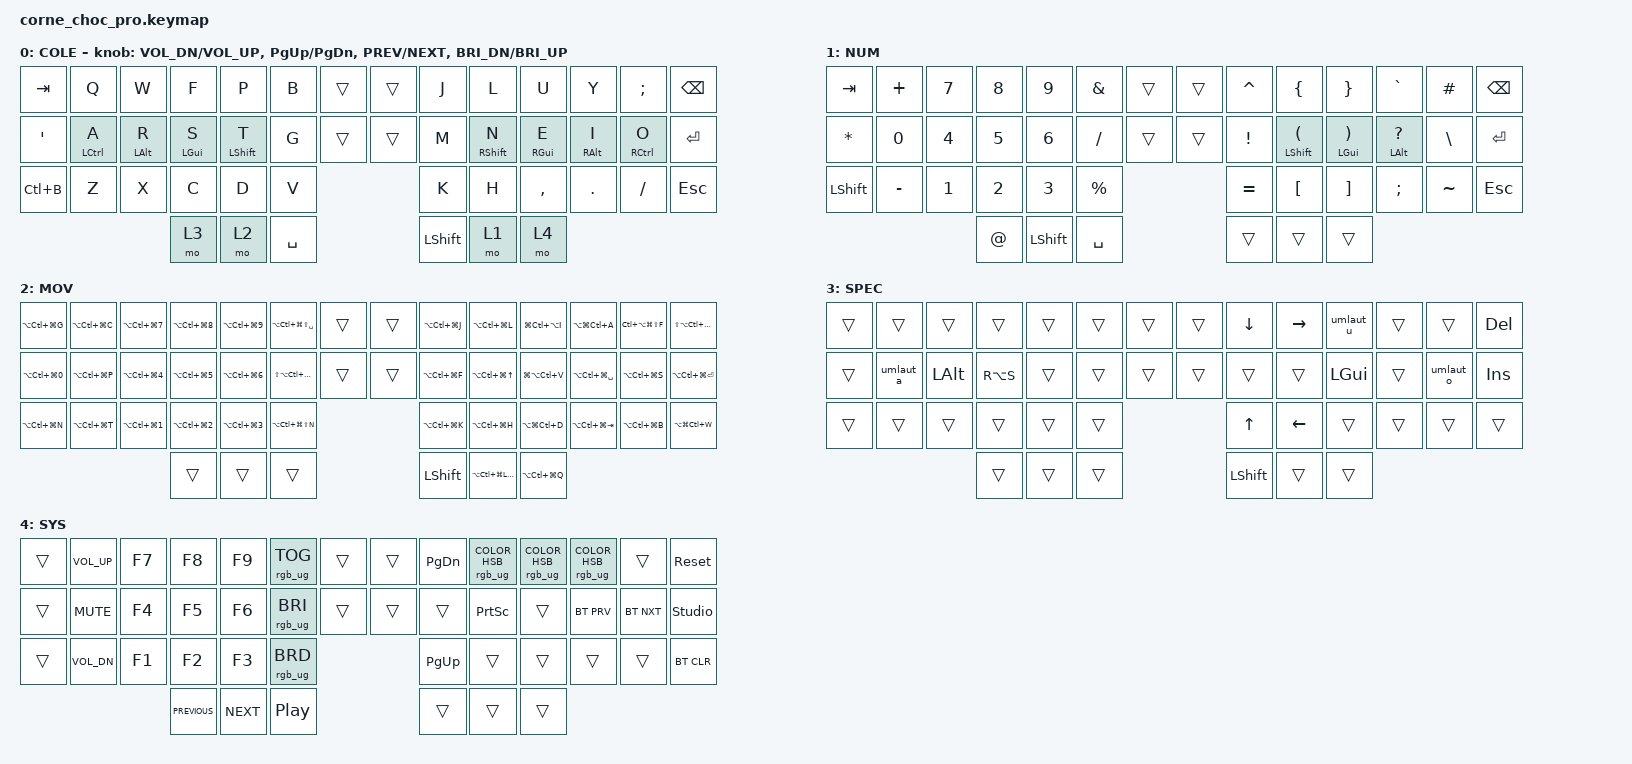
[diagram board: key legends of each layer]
/*
 * Copyright (c) 2020 The ZMK Contributors
 *
 * SPDX-License-Identifier: MIT
 */

#include <behaviors.dtsi>
#include <dt-bindings/zmk/bt.h>
#include <dt-bindings/zmk/keys.h>
#include <dt-bindings/zmk/rgb.h>

/ {
    chosen { zmk,physical-layout = &default_layout; };
};

/ {
    combos {
        compatible = "zmk,combos";

        esc {
            bindings = <&kp ESCAPE>;
            key-positions = <23 24>;
            layers = <0>;
        };

        tab {
            bindings = <&kp TAB>;
            key-positions = <18 17>;
        };
    };

    macros {
        umlaut_a: umlaut_a {
            compatible = "zmk,behavior-macro";
            #binding-cells = <0>;
            bindings = <&kp DOUBLE_QUOTES &kp A>;
            label = "UMLAUT_A";
        };

        umlaut_o: umlaut_o {
            compatible = "zmk,behavior-macro";
            #binding-cells = <0>;
            bindings = <&kp DOUBLE_QUOTES &kp O>;
            label = "UMLAUT_O";
        };

        umlaut_u: umlaut_u {
            compatible = "zmk,behavior-macro";
            #binding-cells = <0>;
            bindings = <&kp DOUBLE_QUOTES &kp U>;
            label = "UMLAUT_U";
        };
    };

    behaviors {
        HRM2: HRM2 {
            compatible = "zmk,behavior-hold-tap";
            label = "HRM2";
            bindings = <&kp>, <&kp>;

            #binding-cells = <2>;
            tapping-term-ms = <280>;
            quick-tap-ms = <200>;
            require-prior-idle-ms = <150>;
            flavor = "balanced";
        };

        HRM2_L: HRM2_L {
            compatible = "zmk,behavior-hold-tap";
            label = "HRM2_L";
            bindings = <&kp>, <&kp>;

            #binding-cells = <2>;
            tapping-term-ms = <280>;
            quick-tap-ms = <170>;
            require-prior-idle-ms = <165>;
            flavor = "balanced";
            hold-trigger-key-positions = <7 8 9 10 11 12 13 21 22 23 24 25 26 27 34 35 36 37 38 39 43 44 45 42 41 40>;
        };

        HRM2_R: HRM2_R {
            compatible = "zmk,behavior-hold-tap";
            label = "HRM2_R";
            bindings = <&kp>, <&kp>;

            #binding-cells = <2>;
            tapping-term-ms = <280>;
            quick-tap-ms = <170>;
            require-prior-idle-ms = <165>;
            flavor = "balanced";
            hold-trigger-key-positions = <16 0 1 2 3 4 5 6 14 15 16 17 18 19 20 28 29 30 31 32 33 40 41 42 43>;
        };
    };

    keymap {
        compatible = "zmk,keymap";

        default_layer {
            display-name = "COLE";

            // --------------------------------------------------------------------------------
            // |  TAB |  Q  |  W  |  E  |  R  |  T  |  MUTE |  PP   |  Y  |  U   |  I  |  O  |  P  | BSPC |
            // | CTRL |  A  |  S  |  D  |  F  |  G  |  LALT |  RALT |  H  |  J   |  K  |  L  |  ;  |  '   |
            // | SHFT |  Z  |  X  |  C  |  V  |  B  |               |  N  |  M   |  ,  |  .  |  /  | ESC  |
            //                    | GUI | LWR | SPC |               | ENT | RSE  | ALT |

            bindings = <
&kp TAB    &kp Q                   &kp W               &kp F               &kp P                 &kp B      &trans  &trans  &kp J           &kp L                  &kp U                &kp Y                &kp SEMI                 &kp BSPC
&kp APOS   &HRM2_L LEFT_CONTROL A  &HRM2_L LEFT_ALT R  &HRM2_L LEFT_GUI S  &HRM2_L LEFT_SHIFT T  &kp G      &trans  &trans  &kp M           &HRM2_R RIGHT_SHIFT N  &HRM2_R RIGHT_GUI E  &HRM2_R RIGHT_ALT I  &HRM2_R RIGHT_CONTROL O  &kp ENTER
&kp LC(B)  &kp Z                   &kp X               &kp C               &kp D                 &kp V                      &kp K           &kp H                  &kp COMMA            &kp DOT              &kp FSLH                 &kp ESC
                                                       &mo 3               &mo 2                 &kp SPACE                  &kp LEFT_SHIFT  &mo 1                  &mo 4
            >;

            sensor-bindings = <&inc_dec_kp C_VOL_DN C_VOL_UP &inc_dec_kp PG_UP PG_DN &inc_dec_kp C_PREV C_NEXT &inc_dec_kp C_BRI_DN C_BRI_UP>;
        };

        layer_1 {
            display-name = "NUM";

            // -----------------------------------------------------------------------------------------
            // |  TAB |  1  |  2  |  3  |  4  |  5    |  LCTRL | RCTRL |  6  |  7  |  8  |  9  |  0  | BSPC |
            // | CTRL | BT1 | BT2 | BT3 | BT4 | BT5   |  LALT  | RALT  | LFT | DWN |  UP | RGT |     |      |
            // | SHFT | BTCR| RGB | RST | BOOT| Unlock|        |       |     |     |     |     |     |      |
            //                    | GUI |     | SPC   |        | ENT   |     | ALT |

            bindings = <
&kp TAB       &kp PLUS   &kp N7        &kp N8        &kp N9          &kp AMPERSAND  &trans  &trans  &kp CARET        &kp LEFT_BRACE                       &kp RIGHT_BRACE                     &kp GRAVE                  &kp HASH       &kp BSPC
&kp ASTERISK  &kp N0     &kp NUMBER_4  &kp N5        &kp NUMBER_6    &kp SLASH      &trans  &trans  &kp EXCLAMATION  &HRM2_R LEFT_SHIFT LEFT_PARENTHESIS  &HRM2_R LEFT_GUI RIGHT_PARENTHESIS  &HRM2_R LEFT_ALT QUESTION  &kp BACKSLASH  &kp ENTER
&kp LSHFT     &kp MINUS  &kp NUMBER_1  &kp NUMBER_2  &kp NUMBER_3    &kp PERCENT                    &kp EQUAL        &kp LEFT_BRACKET                     &kp RIGHT_BRACKET                   &kp SEMICOLON              &kp TILDE      &kp ESCAPE
                                       &kp AT        &kp LEFT_SHIFT  &kp SPACE                      &trans           &trans                               &trans
            >;
        };

        layer_2 {
            display-name = "MOV";
            bindings = <
&kp LA(LC(LG(G)))         &kp LA(LC(LG(C)))  &kp LA(LC(LG(N7)))        &kp LA(LC(LG(N8)))        &kp LA(LC(LG(N9)))        &kp LA(LC(LG(LS(SPACE))))  &trans  &trans  &kp LA(LC(LG(J)))  &kp LA(LC(LG(L)))           &kp LG(LC(LA(I)))  &kp LA(LG(LC(A)))      &kp LC(LA(LG(LS(F))))  &kp LS(LA(LC(LG(ENTER))))
&kp LA(LC(LG(NUMBER_0)))  &kp LA(LC(LG(P)))  &kp LA(LC(LG(NUMBER_4)))  &kp LA(LC(LG(N5)))        &kp LA(LC(LG(NUMBER_6)))  &kp LS(LA(LC(LG(TAB))))    &trans  &trans  &kp LA(LC(LG(F)))  &kp LA(LC(LG(UP_ARROW)))    &kp LG(LA(LC(V)))  &kp LA(LC(LG(SPACE)))  &kp LA(LC(LG(S)))      &kp LA(LC(LG(ENTER)))
&kp LA(LC(LG(N)))         &kp LA(LC(LG(T)))  &kp LA(LC(LG(NUMBER_1)))  &kp LA(LC(LG(NUMBER_2)))  &kp LA(LC(LG(NUMBER_3)))  &kp LA(LC(LG(LS(N))))                      &kp LA(LC(LG(K)))  &kp LA(LC(LG(H)))           &kp LA(LG(LC(D)))  &kp LA(LC(LG(TAB)))    &kp LA(LC(LG(B)))      &kp LA(LG(LC(W)))
                                                                       &trans                    &trans                    &trans                                     &kp LEFT_SHIFT     &kp LA(LC(LG(LEFT_SHIFT)))  &kp LA(LC(LG(Q)))
            >;
        };

        layer_3 {
            display-name = "SPEC";
            bindings = <
&trans  &trans     &trans        &trans     &trans  &trans  &trans  &trans  &kp DOWN_ARROW  &kp RIGHT       &umlaut_u     &trans  &trans     &kp DELETE
&trans  &umlaut_a  &kp LEFT_ALT  &kp RA(S)  &trans  &trans  &trans  &trans  &trans          &trans          &kp LEFT_GUI  &trans  &umlaut_o  &kp INS
&trans  &trans     &trans        &trans     &trans  &trans                  &kp UP_ARROW    &kp LEFT_ARROW  &trans        &trans  &trans     &trans
                                 &trans     &trans  &trans                  &kp LEFT_SHIFT  &trans          &trans
            >;
        };

        layer_4 {
            display-name = "SYS";
            bindings = <
&trans  &kp C_VOL_UP  &kp F7  &kp F8          &kp F9      &rgb_ug RGB_TOG   &trans  &trans  &kp PAGE_DOWN  &rgb_ug RGB_COLOR_HSB(30,100,50)  &rgb_ug RGB_COLOR_HSB(0,0,100)  &rgb_ug RGB_COLOR_HSB(183,82,43)  &trans      &sys_reset
&trans  &kp C_MUTE    &kp F4  &kp F5          &kp F6      &rgb_ug RGB_BRI   &trans  &trans  &trans         &kp PRINTSCREEN                   &trans                          &bt BT_PRV                        &bt BT_NXT  &studio_unlock
&trans  &kp C_VOL_DN  &kp F1  &kp F2          &kp F3      &rgb_ug RGB_BRD                   &kp PAGE_UP    &trans                            &trans                          &trans                            &trans      &bt BT_CLR
                              &kp C_PREVIOUS  &kp C_NEXT  &kp C_PLAY_PAUSE                  &trans         &trans                            &trans
            >;
        };
    };
};
